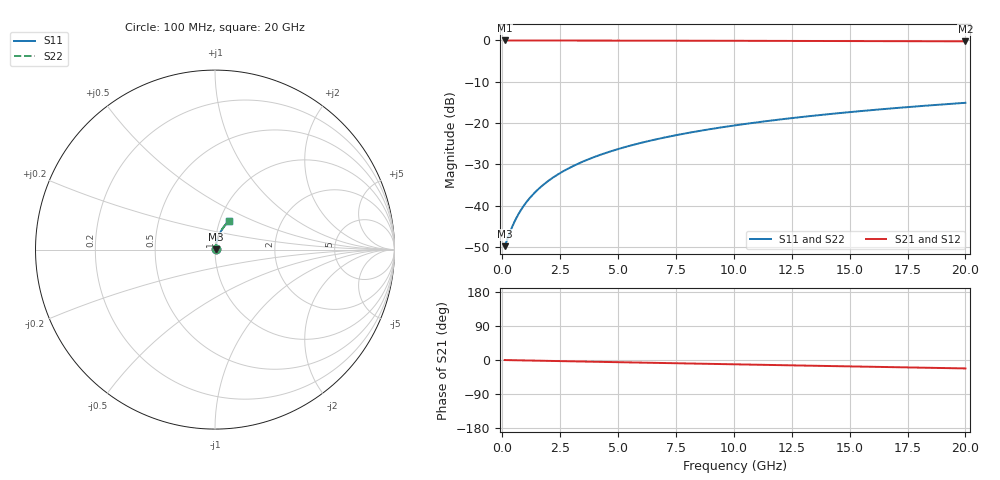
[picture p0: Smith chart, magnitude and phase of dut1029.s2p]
! Touchstone file exported from HFSS 2026.1.0
!  File:  C:/ffzhzh/LocalFiles/Ansys_Project_Files/temp_train_TMRDL_1029_1783160012_43440.aedt
!  Generated:  06:14:44 PM Jul  4, 2026
!  Design:  TMRDL
!  Project:  temp_train_TMRDL_1029_1783160012_43440
! Variables:
!  h_bsmrdl = 2um
!  h_ox = 20um
!  h_rdl = 5um
!  h_sub = 80um
!  h_tmrdl = 4.14um
!  h_tsv = 80um
!  h_via = 3um
!  l_bsmrdl = 300um
!  l_sub = 752.78um
!  l_tmrdl = 352.78um
!  m_sub = 200um
!  pitch = 20.8um
!  r_tsv = 6um
!  s_tmrdl = 10um
!  w_bsmrdl = 18um
!  w_sub = 500um
!  w_tmrdl = 10.13um
!  x_tsv_center1 = 357.845um
!  x_tsv_center2 = 675.845um
!  x_tsv_center3 = 1038.755um
!  x_tsv_center4 = 1356.755um
!  x_tsv_center5 = 1719.665um
!  x_tsv_center6 = 2037.665um
# GHz S MA R 50.000000
! Terminal data exported
! Port[1] = TM_RDL1_1_T1
! Port[2] = TM_RDL1_1_T2
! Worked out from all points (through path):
!   200 points, 100 MHz to 20 GHz, reference 50 ohm
!   highest |S21| = -0.03 dB at 100 MHz (marker M1); lowest = -0.2 dB at 20 GHz (marker M2)
!   group delay of S21, straight-line fit = 3.08 ps
!   lowest |S11| = -49.7 dB at 100 MHz (marker M3), VSWR 1.01, Z = 50.3 + j0.11 ohm
!   |S11| at or under -10 dB: start of sweep to end of sweep
!   |S22| runs from -49.7 to -15.1 dB; largest |S21 - S12| = 2.7e-15
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0.1  0.003255 19.7  0.9969 -0.1  0.9969 -0.1  0.003255 19.7
! Gamma 0 0 0 0
! Port Impedance 50 0 50 0
0.4  0.005351 51.6  0.9967 -0.5  0.9967 -0.5  0.005352 51.6
0.5  0.006196 56.6  0.9966 -0.6  0.9966 -0.6  0.006197 56.6
0.6  0.007065 60.4  0.9965 -0.7  0.9965 -0.7  0.007066 60.4
0.7  0.007952 63.3  0.9965 -0.8  0.9965 -0.8  0.007953 63.3
0.9  0.009766 67.6  0.9964 -1.1  0.9964 -1.1  0.009767 67.6
1.1  0.01162 70.6  0.9963 -1.3  0.9963 -1.3  0.01162 70.6
1.3  0.01349 72.6  0.9962 -1.5  0.9962 -1.5  0.01349 72.6
1.7  0.01729 75.2  0.996 -2.0  0.996 -2.0  0.01728 75.2
2.2  0.02206 77.0  0.9957 -2.6  0.9957 -2.6  0.02205 77.0
2.8  0.02778 78.0  0.9954 -3.3  0.9954 -3.3  0.02778 78.0
3.5  0.03444 78.3  0.9949 -4.1  0.9949 -4.1  0.03444 78.3
4.2  0.04105 78.3  0.9943 -4.9  0.9943 -4.9  0.04105 78.3
5  0.04853 77.9  0.9935 -5.8  0.9935 -5.8  0.04853 77.9
5.9  0.05686 77.3  0.9926 -6.8  0.9926 -6.8  0.05686 77.3
6.8  0.06507 76.6  0.9916 -7.8  0.9916 -7.8  0.06507 76.6
8.3  0.07853 75.3  0.9898 -9.5  0.9898 -9.5  0.07853 75.3
10.1  0.09434 73.6  0.9875 -11.5  0.9875 -11.5  0.09434 73.6
11.7  0.1081 72.1  0.9853 -13.3  0.9853 -13.3  0.1081 72.1
13.4  0.1225 70.4  0.983 -15.1  0.983 -15.1  0.1225 70.4
16.7  0.1496 67.2  0.9781 -18.7  0.9781 -18.7  0.1496 67.2
20  0.1758 64.0  0.9728 -22.3  0.9728 -22.3  0.1758 64.0
